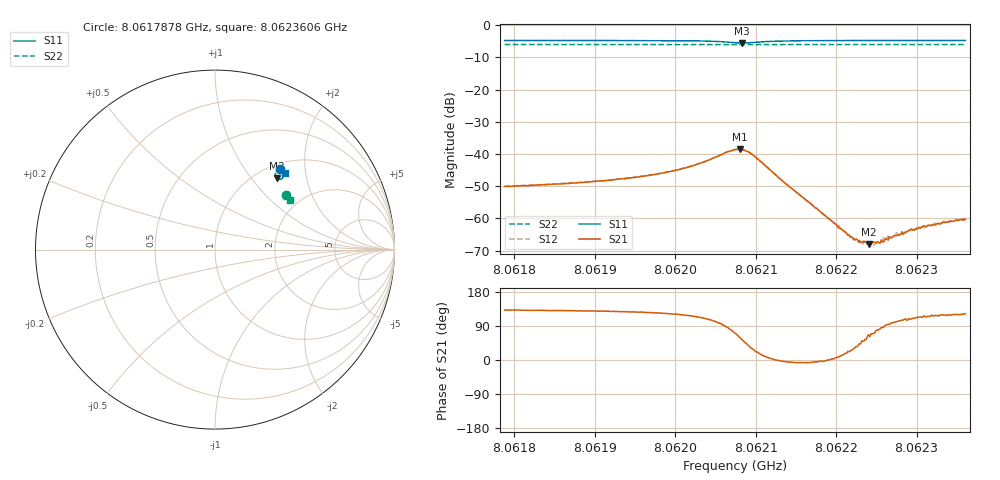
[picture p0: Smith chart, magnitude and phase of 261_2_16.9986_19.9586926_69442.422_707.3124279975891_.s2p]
#  HZ  S  RI  R  50.00
! Rohde & Schwarz Vector Network Analyzer
! Rohde-Schwarz,ZNB20-2Port,1311601062101988,3.16
! Created: UTC 3/20/2024, 11:03:47 PM
! freq[Hz]  re:S11  im:S11  re:S21  im:S21  re:S12  im:S12  re:S22  im:S22
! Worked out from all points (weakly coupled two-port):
!   401 points, 8.0617878 GHz to 8.0623606 GHz, reference 50 ohm
!   highest |S21| = -38.56 dB at 8.06208 GHz (marker M1); lowest = -68.0 dB at 8.0622404 GHz (marker M2)
!   lowest |S11| = -5.6 dB at 8.0620828 GHz (marker M3), VSWR 3.22, Z = 61.7 + j67.6 ohm
!   |S11| at or under -10 dB: nowhere
!   |S22| runs from -6.1 to -6.0 dB; largest |S21 - S12| = 0.00089
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8.06178783e9  0.3632 0.4468  -0.00209 0.00233  -0.00198 0.00248  0.3962 0.303
8.06188377e9  0.3703 0.4406  -0.00231 0.0028  -0.00218 0.00296  0.3996 0.2982
8.06193819e9  0.3747 0.436  -0.00253 0.00329  -0.00238 0.00351  0.4015 0.2956
8.06197972e9  0.3784 0.4308  -0.00275 0.0041  -0.00251 0.00435  0.403 0.2934
8.06201982e9  0.3822 0.4216  -0.00285 0.00579  -0.00255 0.00601  0.4043 0.2909
8.06207424e9  0.3588 0.392  0.00378 0.011  0.00453 0.0109  0.4045 0.2875
8.06207996e9  0.3495 0.394  0.00595 0.0102  0.00666 0.00993  0.4043 0.2873
8.06208283e9  0.345 0.3966  0.00689 0.00946  0.00744 0.00893  0.4042 0.2874
8.06208999e9  0.3374 0.4065  0.00833 0.00701  0.00883 0.00653  0.4043 0.2876
8.06209715e9  0.3355 0.4174  0.00839 0.00442  0.00861 0.00395  0.4046 0.2878
8.06217018e9  0.3668 0.4386  0.00161 -0.000175  0.00158 -0.000292  0.4086 0.2848
8.06222031e9  0.3749 0.4351  0.000441 0.000229  0.000435 0.000228  0.4106 0.2822
8.06223033e9  0.3763 0.4344  0.000312 0.000285  0.000316 0.000265  0.4109 0.2817
8.06224035e9  0.3773 0.4339  0.000156 0.000367  0.000215 0.000338  0.4114 0.2812
8.06225467e9  0.3788 0.4328  5.58e-05 0.000411  9.2e-05 0.000412  0.4117 0.2804
8.06226183e9  0.3795 0.4324  -2.38e-05 0.000491  3.26e-05 0.000474  0.4121 0.28
8.06226613e9  0.3797 0.4321  -4.08e-05 0.000519  -1.65e-05 0.000483  0.4121 0.2799
8.06228045e9  0.3812 0.4314  -0.000141 0.000551  -0.000119 0.00056  0.4127 0.2791
8.06229191e9  0.3822 0.4306  -0.000198 0.000628  -0.000219 0.00063  0.4131 0.2785
8.06230623e9  0.3833 0.4297  -0.000288 0.00068  -0.000258 0.00069  0.4135 0.2777
8.06233344e9  0.3853 0.428  -0.000424 0.000772  -0.000362 0.00083  0.4143 0.2761
8.06236065e9  0.3873 0.4265  -0.000524 0.000834  -0.000482 0.000869  0.4154 0.2749
